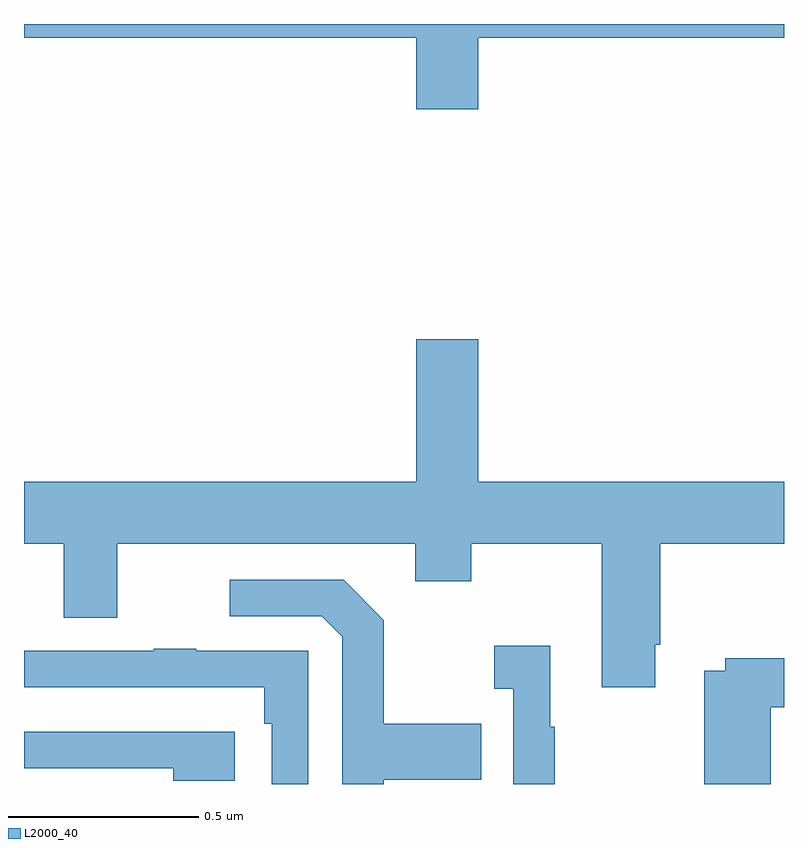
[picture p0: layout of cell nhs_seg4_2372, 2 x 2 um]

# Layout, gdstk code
import gdstk
lib = gdstk.Library(unit=1e-6, precision=1e-09)
def P(c, l, *ps):  # polygons
    for p in ps: c.add(gdstk.Polygon(p, *l))
L2000_40 = (2000, 40)

nhs_seg4_2372 = lib.new_cell('nhs_seg4_2372')
P(nhs_seg4_2372, L2000_40, [(141.196,752.864),(142,752.864),(142,752.9),(140,752.9),(140,752.864),(141.032,752.864),(141.032,752.676),(141.196,752.676)],
  [(141.661,751.267),(141.674,751.267),(141.674,751.532),(142,751.532),(142,751.696),(141.196,751.696),(141.196,752.071),(141.032,752.071),(141.032,751.696),(140,751.696),(140,751.532),(140.105,751.532),(140.105,751.338),(140.245,751.338),(140.245,751.532),(141.029,751.532),(141.029,751.433),(141.177,751.433),(141.177,751.532),(141.521,751.532),(141.521,751.155),(141.661,751.155)],
  [(140.947,750.911),(141.203,750.911),(141.203,751.059),(140.947,751.059),(140.947,751.331),(140.841,751.437),(140.541,751.437),(140.541,751.341),(140.784,751.341),(140.838,751.287),(140.838,750.9),(140.947,750.9)],
  [(141.397,751.051),(141.385,751.051),(141.385,751.264),(141.237,751.264),(141.237,751.151),(141.288,751.151),(141.288,750.9),(141.397,750.9)],
  [(140.748,751.251),(140.453,751.251),(140.453,751.256),(140.341,751.256),(140.341,751.251),(140,751.251),(140,751.155),(140.632,751.155),(140.632,751.058),(140.652,751.058),(140.652,750.9),(140.748,750.9)],
  [(141.965,751.102),(142,751.102),(142,751.231),(141.846,751.231),(141.846,751.198),(141.79,751.198),(141.79,750.9),(141.965,750.9)],
  [(140.554,751.038),(140,751.038),(140,750.942),(140.393,750.942),(140.393,750.908),(140.554,750.908)])

lib.write_gds('nhs_seg4_2372.gds')
